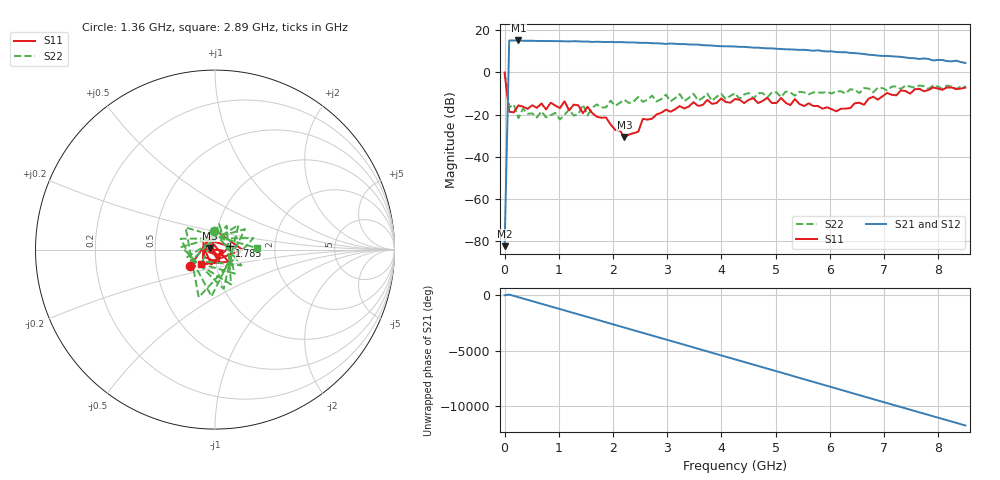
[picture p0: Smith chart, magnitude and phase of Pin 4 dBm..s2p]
! RsaToolbox (C) 2013 Rohde & Schwarz America
! Number of points: 101
! Number of ports: 2
! Balanced ports?: 0
# Hz S RI R 50
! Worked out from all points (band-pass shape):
!   101 points, 9 kHz to 8.5 GHz, reference 50 ohm
!   highest |S21| = 15.16 dB at 255 MHz (marker M1); lowest = -82.5 dB at 9 kHz (marker M2)
!   |S21| within 3 dB of the highest: 82.41 MHz to 4.316 GHz (4.233 GHz wide, 193 % of centre)
!   lowest |S11| = -30.7 dB at 2.21 GHz (marker M3), VSWR 1.06, Z = 47.3 + j0.824 ohm
!   |S11| at or under -10 dB: 45.36 MHz to 7.043 GHz (6.997 GHz wide, 197 % of centre); 7.078 GHz to 7.258 GHz (180.1 MHz wide, 2.51 % of centre); 7.474328 GHz to 7.483499 GHz (9.171 MHz wide, 0.123 % of centre)
!   |S22| runs from -22.4 to 0.0 dB; largest |S21 - S12| = 0
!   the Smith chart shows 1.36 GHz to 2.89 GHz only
!   S11 on the Smith chart (normalised r, x): 1.36 GHz: 0.75, -0.14; 1.785 GHz: 1.18, +0.04; 2.89 GHz: 0.85, -0.14
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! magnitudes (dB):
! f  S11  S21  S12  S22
! 9 kHz  -0.1  -82.5  -82.5  0.0
! 85.01 MHz  -18.7  15.1  15.1  -16.6
! 170 MHz  -18.9  15.1  15.1  -15.2
! 255 MHz  -15.7  15.2  15.2  -21.7
! 340 MHz  -16.3  15.0  15.0  -17.2
! 595 MHz  -16.8  14.9  14.9  -21.4
! 680 MHz  -14.7  14.9  14.9  -18.5
! 1.02 GHz  -16.9  14.8  14.8  -22.4
! 1.19 GHz  -18.0  14.7  14.7  -17.6
! 1.36 GHz  -15.6  14.8  14.8  -19.8
! 1.445 GHz  -19.4  14.6  14.6  -15.3
! 1.53 GHz  -16.3  14.7  14.7  -20.4
! 1.785 GHz  -21.5  14.5  14.5  -16.6
! 2.21 GHz  -30.7  14.3  14.3  -13.0
! 2.465 GHz  -28.2  14.1  14.1  -11.7
! 2.55 GHz  -22.1  14.0  14.0  -13.9
! 2.89 GHz  -19.1  13.7  13.7  -12.7
! 4.25 GHz  -12.6  12.3  12.3  -9.9
! 5.695 GHz  -15.9  10.3  10.3  -9.5
! 6.12 GHz  -18.5  9.7  9.7  -8.8
! 7.14 GHz  -10.6  7.7  7.7  -6.8
! 8.5 GHz  -7.2  4.5  4.5  -6.7
